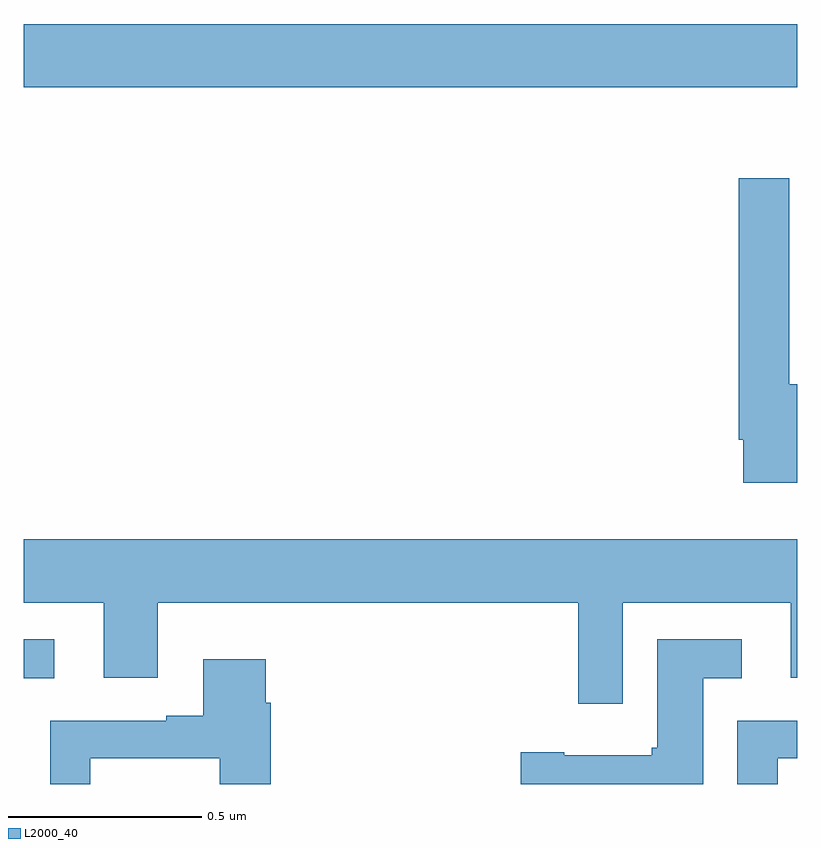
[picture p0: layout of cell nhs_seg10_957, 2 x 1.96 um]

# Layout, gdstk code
import gdstk
lib = gdstk.Library(unit=1e-6, precision=1e-09)
def R(c, l, rs):  # rectangles x0, y0, x1, y1
    for r in rs: c.add(gdstk.rectangle(r[:2], r[2:], *l))
def P(c, l, *ps):  # polygons
    for p in ps: c.add(gdstk.Polygon(p, *l))
L2000_40 = (2000, 40)

nhs_seg10_957 = lib.new_cell('nhs_seg10_957')
R(nhs_seg10_957, L2000_40, [(122,1314.773,122.08,1314.874), (122,1316.3,124,1316.464)])
P(nhs_seg10_957, L2000_40, [(124,1315.533),(123.979,1315.533),(123.979,1316.065),(123.848,1316.065),(123.848,1315.39),(123.86,1315.39),(123.86,1315.278),(124,1315.278)],
  [(123.549,1314.968),(123.983,1314.968),(123.983,1314.774),(124,1314.774),(124,1315.132),(122,1315.132),(122,1314.968),(122.207,1314.968),(122.207,1314.774),(122.347,1314.774),(122.347,1314.968),(123.433,1314.968),(123.433,1314.708),(123.549,1314.708)],
  [(123.757,1314.773),(123.856,1314.773),(123.856,1314.874),(123.638,1314.874),(123.638,1314.594),(123.624,1314.594),(123.624,1314.574),(123.397,1314.574),(123.397,1314.582),(123.285,1314.582),(123.285,1314.5),(123.757,1314.5)],
  [(122.173,1314.567),(122.507,1314.567),(122.507,1314.5),(122.639,1314.5),(122.639,1314.71),(122.626,1314.71),(122.626,1314.823),(122.465,1314.823),(122.465,1314.676),(122.369,1314.676),(122.369,1314.663),(122.069,1314.663),(122.069,1314.5),(122.173,1314.5)],
  [(123.949,1314.567),(124,1314.567),(124,1314.663),(123.845,1314.663),(123.845,1314.5),(123.949,1314.5)])

lib.write_gds('nhs_seg10_957.gds')
